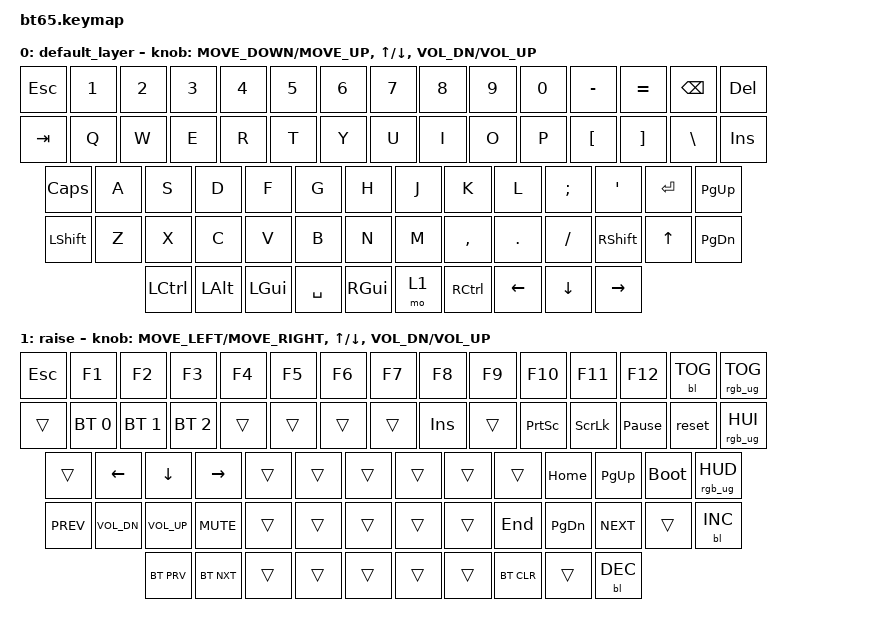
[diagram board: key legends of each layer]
#include <behaviors.dtsi>
#include <dt-bindings/zmk/keys.h>
#include <dt-bindings/zmk/bt.h>
#include <dt-bindings/zmk/rgb.h>
#include <dt-bindings/zmk/backlight.h>
#include <dt-bindings/zmk/ext_power.h>
#include <dt-bindings/zmk/mouse.h>

/ {
    macros {
        zoom_in: zoom_in {
            label = "zoom_in";
            compatible = "zmk,behavior-macro";
            #binding-cells = <0>;
            bindings
                = <&macro_press &kp LGUI>
                , <&macro_press &kp PLUS>
                , <&macro_release &kp LGUI>
		, <&macro_release &kp PLUS>
                ;
        };

	zoom_out: zoom_out {
            label = "zoom_out";
            compatible = "zmk,behavior-macro";
            #binding-cells = <0>;
            bindings
                = <&macro_press &kp LGUI>
                , <&macro_press &kp MINUS>
                , <&macro_release &kp LGUI>
		, <&macro_release &kp MINUS>
                ;
        };
    };
};

/ {
	keymap {
		compatible = "zmk,keymap";

		default_layer {
				// ------------------------------------------------------------------------------------------------------------
				// |  `  |  1  |  2  |  3  |  4  |  5  |  6  |  7  |  8  |  9  |  0  |  -  |  =  |BKSP | INS		|
				// | TAB  |  Q  |  W  |  E  |  R  |  T  |  Y  |  U  |  I  |  O  |  P  |  [  |  ]  |   \    | DEL		|
				// | CAPS  |  A  |  S  |  D  |  F  |  G  |  H  |  J  |  K  |  L  |  ;  |  '  |     ENTER    |PGUP	|
				// |  SHIFT  |  Z  |  X  |  C  |  V  |  B  |  N  |  M  |  ,  |  .  | /   |   SHIFT  | UP   | PGDN|
				// |  CTL  |  WIN  |  ALT  |            SPACE               | ALT | 1    |  MENU| LEFT |  DOWN    | RIGHT	|
				// ------------------------------------------------------------------------------------------------------------
			bindings = <

				&kp ESC &kp N1 &kp N2 &kp N3 &kp N4 &kp N5 &kp N6 &kp N7 &kp  N8   &kp  N9   &kp N0 &kp MINUS &kp EQUAL &kp BKSP &kp DEL
				&kp TAB  &kp Q  &kp W  &kp E  &kp R  &kp T  &kp Y  &kp U  &kp  I    &kp  O  &kp  P   &kp LBKT &kp RBKT  	&kp BSLH &kp INS
				&kp CLCK  &kp A  &kp S  &kp D  &kp F  &kp G  &kp H  &kp J  &kp  K    &kp  L  &kp SEMI &kp SQT           	&kp RET &kp PG_UP
				&kp LSHFT &kp Z  &kp X  &kp C  &kp V  &kp B  &kp N  &kp M  &kp COMMA &kp DOT &kp FSLH   &kp RSHFT &kp UP &kp PG_DN
				&kp LCTRL &kp LALT &kp LGUI            &kp SPACE                          &kp RGUI  &mo 1 &kp RCTRL &kp LEFT &kp DOWN &kp RIGHT
			>;
			sensor-bindings = <&inc_dec_mmv MOVE_DOWN MOVE_UP &inc_dec_kp UP DOWN &inc_dec_kp C_VOL_DN C_VOL_UP>;
		};
		raise {
			bindings = <
				&kp ESC &kp F1 &kp F2 &kp F3 &kp F4 &kp F5 &kp F6 &kp F7 &kp  F8   &kp  F9   &kp F10  &kp F11 &kp F12 &bl BL_TOG &rgb_ug RGB_TOG
				&trans &bt BT_SEL 0 &bt BT_SEL 1 &bt BT_SEL 2 &trans &trans &trans &trans &kp INS &trans &kp PSCRN &kp SLCK &kp PAUSE_BREAK &reset &rgb_ug RGB_HUI
				&trans    &kp LEFT &kp DOWN &kp RIGHT &trans &trans &trans &trans &trans &trans &kp HOME  &kp PG_UP   &bootloader &rgb_ug RGB_HUD
				&kp C_PREV &kp C_VOL_DN &kp C_VOL_UP &kp C_MUTE &trans &trans &trans &trans &trans &kp END &kp PG_DN  &kp C_NEXT &trans &bl BL_INC
				&bt BT_PRV &bt BT_NXT  &trans              &trans                            &trans   &trans   &trans &bt BT_CLR &trans &bl BL_DEC
			>;
			sensor-bindings = <&inc_dec_mmv MOVE_LEFT MOVE_RIGHT &inc_dec_kp UP DOWN &inc_dec_kp C_VOL_DN C_VOL_UP>;
		};
	};
};
